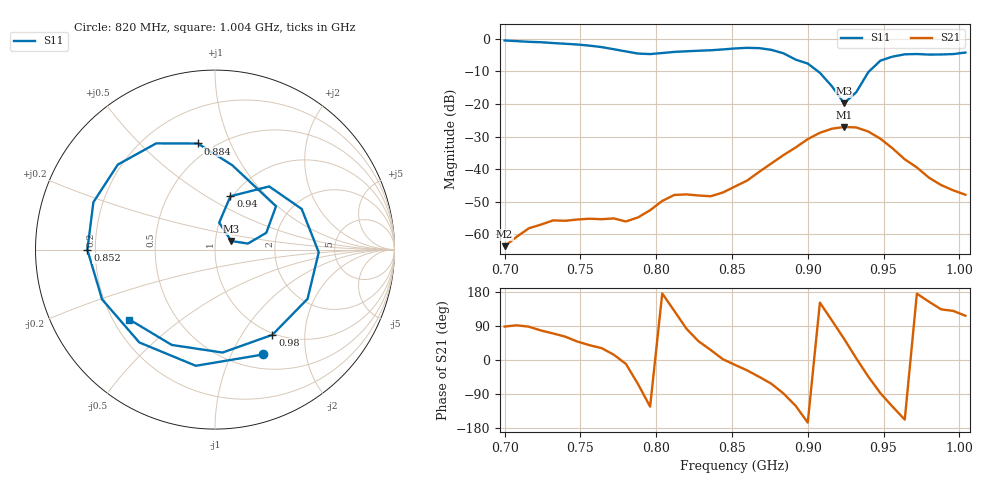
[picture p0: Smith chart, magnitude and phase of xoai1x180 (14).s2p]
# Hz S RI R 50
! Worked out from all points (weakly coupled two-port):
!   39 points, 700 MHz to 1.004 GHz, reference 50 ohm
!   highest |S21| = -27.05 dB at 924 MHz (marker M1); lowest = -63.6 dB at 700 MHz (marker M2)
!   lowest |S11| = -19.8 dB at 924 MHz (marker M3), VSWR 1.23, Z = 59.7 + j5.8 ohm
!   |S11| at or under -10 dB: 906.8 MHz to 940.4 MHz (33.65 MHz wide, 3.64 % of centre)
!   S12 and S22 are empty: the file has one direction only
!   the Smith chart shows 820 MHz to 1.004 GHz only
!   S11 on the Smith chart (normalised r, x): 820 MHz: 0.67, -1.33; 852 MHz: 0.17, -0.00; 884 MHz: 0.41, +0.76; 940 MHz: 0.98, +0.64; 980 MHz: 0.98, -1.38; 1.004 GHz: 0.27, -0.33
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7e8  0.7638 0.5538  1.96e-05 0.000658  0 0  0 0
7.24e8  0.85 -0.2501  0.000296 0.00138  0 0  0 0
7.4e8  0.4575 -0.7038  0.000769 0.00142  0 0  0 0
7.56e8  -0.1943 -0.7612  0.00135 0.00109  0 0  0 0
7.72e8  -0.6646 -0.1946  0.0017 0.000427  0 0  0 0
7.8e8  -0.5971 0.2305  0.00155 -0.000277  0 0  0 0
7.88e8  -0.2449 0.5413  0.000815 -0.00163  0 0  0 0
7.96e8  0.2488 0.5271  -0.00128 -0.00196  0 0  0 0
8.04e8  0.5796 0.1732  -0.00325 0.000249  0 0  0 0
8.2e8  0.2692 -0.5843  0.000546 0.00406  0 0  0 0
8.36e8  -0.4217 -0.5173  0.00344 0.0017  0 0  0 0
8.52e8  -0.711 -0.00134  0.00528 -0.00121  0 0  0 0
8.68e8  -0.5415 0.4736  0.0065 -0.00639  0 0  0 0
8.84e8  -0.0955 0.5911  0.000466 -0.0164  0 0  0 0
9e8  0.3399 0.2416  -0.0279 -0.00738  0 0  0 0
9.08e8  0.286 0.0936  -0.0317 0.0174  0 0  0 0
9.24e8  0.0908 0.048  0.025 0.0367  0 0  0 0
9.4e8  0.086 0.2972  0.0271 -0.0263  0 0  0 0
9.56e8  0.4829 0.2266  -0.0114 -0.0174  0 0  0 0
9.64e8  0.578 -0.015  -0.0131 -0.00544  0 0  0 0
9.8e8  0.3198 -0.4749  -0.00663 0.00327  0 0  0 0
1.004e9  -0.4767 -0.3898  -0.00183 0.00362  0 0  0 0
